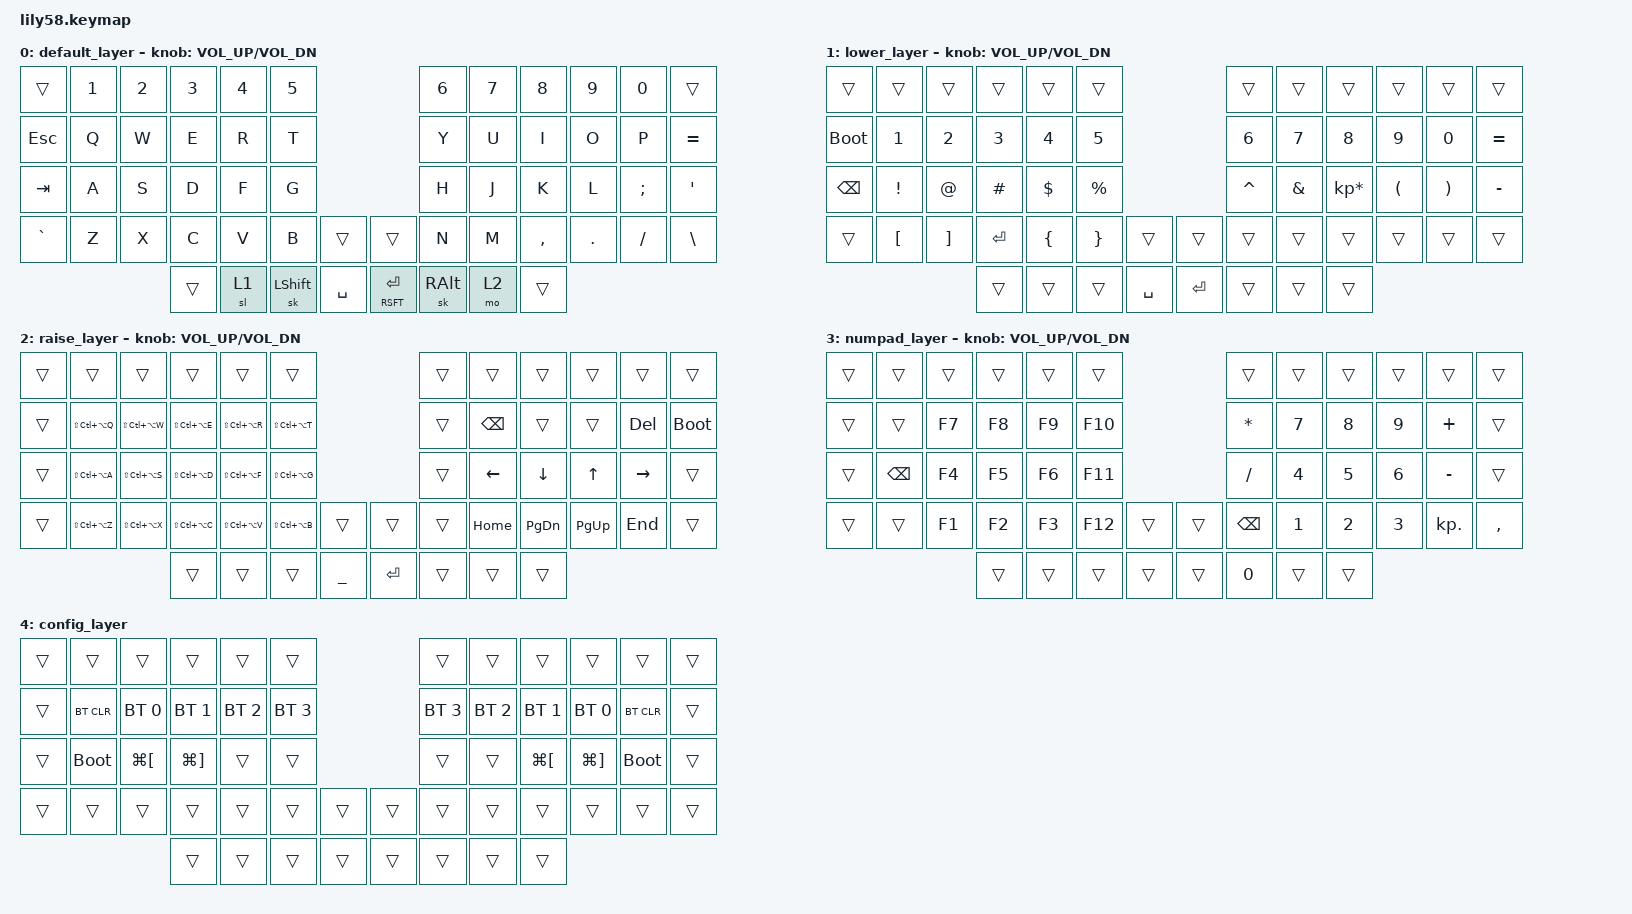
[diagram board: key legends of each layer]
/*
 * Copyright (c) 2020 The ZMK Contributors
 *
 * SPDX-License-Identifier: MIT
 */

#include <behaviors.dtsi>
#include <dt-bindings/zmk/keys.h>
#include <dt-bindings/zmk/bt.h>
#include <dt-bindings/zmk/ext_power.h>

/ {
// 0  1  2  3  4  5        6  7  8  9  10 11
// 12 13 14 15 16 17       18 19 20 21 22 23
// 24 25 26 27 28 29       30 31 32 33 34 35
// 36 37 38 39 40 41 42 43 44 45 46 47 48 49
//          50 51 52 53 54 55 56 57 58

  combos {
    compatible = "zmk,combos";

    // home row combos
    combo_lgui {
      key-positions = <27 28>;
      bindings = <&sk LGUI>;
      slow-release;
    };
    combo_lalt {
      key-positions = <26 28>;
      bindings = <&sk LALT>;
      slow-release;
    };
    combo_lctrl {
      key-positions = <25 28>;
      bindings = <&sk LCTRL>;
      slow-release;
    };
    combo_rgui {
      key-positions = <31 32>;
      bindings = <&sk RGUI>;
      slow-release;
    };
    combo_ralt {
      key-positions = <31 33>;
      bindings = <&sk LALT>;
      slow-release;
    };
    combo_rctrl {
      key-positions = <31 34>;
      bindings = <&sk RCTRL>;
      slow-release;
    };

    // fake outer columns
    combo_esc {
      key-positions = <13 14>;
      bindings = <&kp ESC>;
      slow-release;
    };
    combo_tab {
      key-positions = <25 26>;
      bindings = <&kp TAB>;
      slow-release;
    };
    combo_grave {
      key-positions = <37 38>;
      bindings = <&kp GRAVE>;
      slow-release;
    };
    combo_equal {
      key-positions = <21 22>;
      bindings = <&kp EQUAL>;
      slow-release;
    };
    combo_sqt {
      key-positions = <33 34>;
      bindings = <&kp SQT>;
      slow-release;
    };
    combo_bslh {
      key-positions = <47 48>;
      bindings = <&kp BSLH>;
      slow-release;
    };

    // layers
    combo_r_lower {
      key-positions = <31 55>;
      bindings = <&sl 1>;
      slow-release;
    };
    combo_l_raise {
      key-positions = <28 52>;
      bindings = <&sl 2>;
      slow-release;
    };
    combo_r_numpad {
      key-positions = <32 56>;
      bindings = <&sl 3>;
      slow-release;
    };
    combo_l_numpad {
      key-positions = <27 51>;
      bindings = <&sl 3>;
      slow-release;
    };
    combo_r_config {
      key-positions = <30 31>;
      bindings = <&sl 4>;
      slow-release;
    };
    combo_l_config {
      key-positions = <28 29>;
      bindings = <&sl 4>;
      slow-release;
    };
  };

  keymap {
    compatible = "zmk,keymap";

    default_layer {
      bindings = <
&trans    &kp N1 &kp N2 &kp N3 &kp N4 &kp N5                           &kp N6   &kp N7   &kp N8    &kp N9  &kp N0   &trans
&kp ESC   &kp Q  &kp W  &kp E  &kp R  &kp T                            &kp Y    &kp U    &kp I     &kp O   &kp P    &kp EQUAL
&kp TAB   &kp A  &kp S  &kp D  &kp F  &kp G                            &kp H    &kp J    &kp K     &kp L   &kp SEMI &kp SQT
&kp GRAVE &kp Z  &kp X  &kp C  &kp V  &kp B     &trans    &trans       &kp N    &kp M    &kp COMMA &kp DOT &kp FSLH &kp BSLH
                        &trans &sl 1  &sk LSHFT &kp SPACE &mt RSFT RET &sk RALT &mo 2    &trans
      >;

     sensor-bindings = <&inc_dec_kp C_VOL_UP C_VOL_DN>;
    };

    lower_layer {
      bindings = <
&trans      &trans   &trans   &trans   &trans   &trans                      &trans    &trans   &trans          &trans   &trans   &trans
&bootloader &kp N1   &kp N2   &kp N3   &kp N4   &kp N5                      &kp N6    &kp N7   &kp N8          &kp N9   &kp N0   &kp EQUAL
&kp BSPC    &kp EXCL &kp AT   &kp HASH &kp DLLR &kp PRCNT                   &kp CARET &kp AMPS &kp KP_MULTIPLY &kp LPAR &kp RPAR &kp MINUS
&trans      &kp LBKT &kp RBKT &kp RET  &kp LBRC &kp RBRC  &trans    &trans  &trans    &trans   &trans          &trans   &trans   &trans
                              &trans   &trans   &trans    &kp SPACE &kp RET &trans    &trans   &trans
      >;
      sensor-bindings = <&inc_dec_kp C_VOL_UP C_VOL_DN>;
    };

    raise_layer {
      bindings = <
&trans &trans            &trans            &trans            &trans            &trans                              &trans &trans   &trans    &trans    &trans    &trans
&trans &kp LS(LC(LA(Q))) &kp LS(LC(LA(W))) &kp LS(LC(LA(E))) &kp LS(LC(LA(R))) &kp LS(LC(LA(T)))                   &trans &kp BSPC &trans    &trans    &kp DEL   &bootloader
&trans &kp LS(LC(LA(A))) &kp LS(LC(LA(S))) &kp LS(LC(LA(D))) &kp LS(LC(LA(F))) &kp LS(LC(LA(G)))                   &trans &kp LEFT &kp DOWN  &kp UP    &kp RIGHT &trans
&trans &kp LS(LC(LA(Z))) &kp LS(LC(LA(X))) &kp LS(LC(LA(C))) &kp LS(LC(LA(V))) &kp LS(LC(LA(B))) &trans    &trans  &trans &kp HOME &kp PG_DN &kp PG_UP &kp END   &trans
                                           &trans            &trans            &trans            &kp UNDER &kp RET &trans &trans   &trans
      >;
      sensor-bindings = <&inc_dec_kp C_VOL_UP C_VOL_DN>;
    };

    numpad_layer {
      bindings = <
&trans &trans   &trans &trans &trans &trans                &trans    &trans &trans &trans &trans     &trans
&trans &trans   &kp F7 &kp F8 &kp F9 &kp F10               &kp ASTRK &kp N7 &kp N8 &kp N9 &kp PLUS   &trans
&trans &kp BSPC &kp F4 &kp F5 &kp F6 &kp F11               &kp SLASH &kp N4 &kp N5 &kp N6 &kp MINUS  &trans
&trans &trans   &kp F1 &kp F2 &kp F3 &kp F12 &trans &trans &kp BSPC  &kp N1 &kp N2 &kp N3 &kp KP_DOT &kp COMMA
                       &trans &trans &trans  &trans &trans &kp N0    &trans &trans
      >;
      sensor-bindings = <&inc_dec_kp C_VOL_UP C_VOL_DN>;
    };

    config_layer {
      bindings = <
&trans &trans      &trans       &trans       &trans       &trans                     &trans       &trans       &trans       &trans       &trans      &trans
&trans &bt BT_CLR  &bt BT_SEL 0 &bt BT_SEL 1 &bt BT_SEL 2 &bt BT_SEL 3               &bt BT_SEL 3 &bt BT_SEL 2 &bt BT_SEL 1 &bt BT_SEL 0 &bt BT_CLR  &trans
&trans &bootloader &kp LG(LBKT) &kp LG(RBKT) &trans       &trans                     &trans       &trans       &kp LG(LBKT) &kp LG(RBKT) &bootloader &trans
&trans &trans      &trans       &trans       &trans       &trans       &trans &trans &trans       &trans       &trans       &trans       &trans      &trans
                                &trans       &trans       &trans       &trans &trans &trans       &trans       &trans
      >;
    };
  };
};
